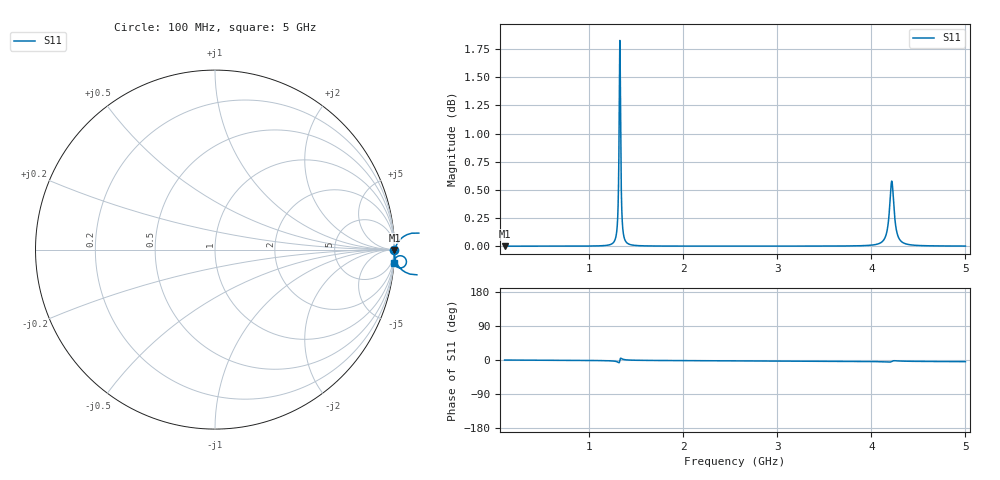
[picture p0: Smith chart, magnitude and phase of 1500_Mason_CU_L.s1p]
! Created Sat Jun  4 15:42:15 2022
# mhz S ma R 50
! 1 Port Network Data from SP1.SP block
! freq  magS11  angS11
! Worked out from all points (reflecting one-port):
!   4901 points, 100 MHz to 5 GHz, reference 50 ohm
!   lowest |S11| = 0.0 dB at 100 MHz (marker M1)
!   phase of S11 starts at -0 deg and turns -4 deg over the sweep
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100  1 -0.1
713  1 -0.8
1132  1 -1.6
1216  1.001 -2.1
1263  1.004 -2.9
1288  1.012 -4.0
1295  1.018 -4.5
1301  1.026 -5.2
1311  1.062 -6.6
1325  1.233 -2.1
1340  1.065 4.3
1351  1.026 2.7
1364  1.012 1.6
1391  1.004 0.4
1524  1.001 -0.8
1938  1 -1.6
2550  1 -2.2
3163  1 -2.9
3775  1 -3.6
4129  1.006 -4.8
4163  1.014 -5.3
4187  1.031 -5.6
4219  1.068 -3.5
4238  1.044 -2.0
4253  1.026 -2.0
4295  1.008 -2.6
4388  1.002 -3.3
5000  1 -4.4
